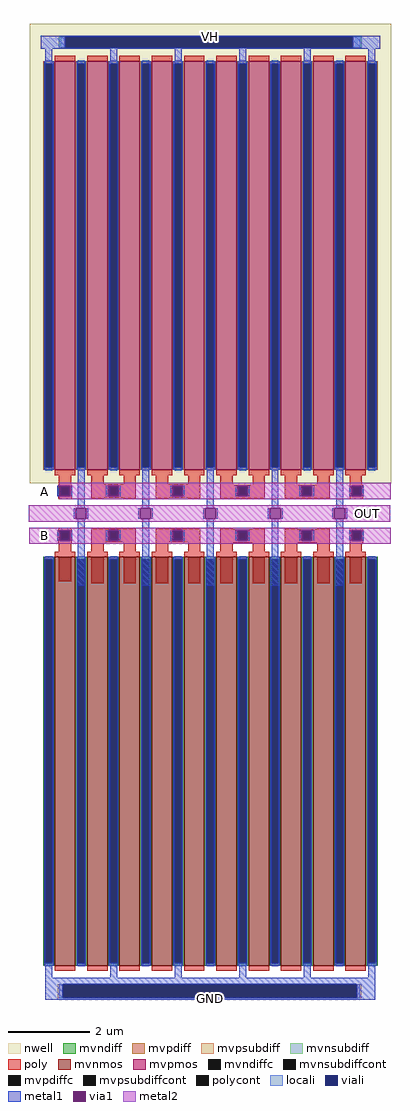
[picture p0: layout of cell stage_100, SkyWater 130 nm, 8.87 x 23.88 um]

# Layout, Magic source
magic
tech sky130A
magscale 1 2
<< nwell >>
rect -10 -6 1760 2244
<< mvpsubdiff >>
rect 128 -2526 152 -2458
rect 1590 -2526 1614 -2458
<< mvnsubdiff >>
rect 134 2126 164 2178
rect 1572 2126 1616 2178
<< mvpsubdiffcont >>
rect 152 -2526 1590 -2458
<< mvnsubdiffcont >>
rect 164 2126 1572 2178
<< poly >>
rect 134 -84 194 50
rect 292 -10 352 60
rect 450 -10 510 60
rect 292 -76 510 -10
rect 292 -78 352 -76
rect 450 -78 510 -76
rect 608 -10 668 60
rect 766 -10 826 60
rect 608 -76 826 -10
rect 608 -78 668 -76
rect 766 -78 826 -76
rect 924 -12 984 60
rect 1082 -12 1142 60
rect 924 -78 1142 -12
rect 1240 -12 1300 60
rect 1398 -12 1458 60
rect 1240 -78 1458 -12
rect 1556 -84 1616 60
rect 134 -486 194 -224
rect 292 -294 510 -228
rect 292 -496 352 -294
rect 450 -496 510 -294
rect 608 -294 826 -228
rect 608 -496 668 -294
rect 766 -496 826 -294
rect 924 -230 984 -228
rect 1082 -230 1142 -228
rect 924 -296 1142 -230
rect 924 -496 984 -296
rect 1082 -496 1142 -296
rect 1240 -230 1300 -228
rect 1398 -230 1458 -228
rect 1240 -296 1458 -230
rect 1240 -496 1300 -296
rect 1398 -496 1458 -296
rect 1556 -496 1616 -224
<< locali >>
rect 142 2126 164 2178
rect 1572 2126 1608 2178
rect 136 -2526 152 -2458
rect 1590 -2526 1606 -2458
<< viali >>
rect 164 2126 1572 2178
rect 152 -2524 1590 -2458
<< metal1 >>
rect 44 2178 1706 2184
rect 44 2126 164 2178
rect 1572 2126 1706 2178
rect 44 2120 1706 2126
rect 68 2048 102 2120
rect 384 2048 418 2120
rect 700 2048 734 2120
rect 1016 2048 1050 2120
rect 1332 2048 1366 2120
rect 1648 2048 1682 2120
rect 126 -70 136 -18
rect 188 -70 198 -18
rect 226 -128 260 72
rect 364 -70 374 -18
rect 426 -70 436 -18
rect 542 -128 576 72
rect 678 -70 688 -18
rect 740 -70 750 -18
rect 858 -128 892 72
rect 996 -70 1006 -18
rect 1058 -70 1068 -18
rect 1174 -128 1208 72
rect 1310 -70 1320 -18
rect 1372 -70 1382 -18
rect 1490 -128 1524 72
rect 1554 -70 1564 -18
rect 1616 -70 1626 -18
rect 206 -180 216 -128
rect 268 -180 278 -128
rect 522 -180 532 -128
rect 584 -180 594 -128
rect 840 -180 850 -128
rect 902 -180 912 -128
rect 1156 -180 1166 -128
rect 1218 -180 1228 -128
rect 1472 -180 1482 -128
rect 1534 -180 1544 -128
rect 126 -288 136 -236
rect 188 -288 198 -236
rect 226 -508 260 -180
rect 364 -288 374 -236
rect 426 -288 436 -236
rect 542 -508 576 -180
rect 678 -288 688 -236
rect 740 -288 750 -236
rect 858 -508 892 -180
rect 996 -288 1006 -236
rect 1058 -288 1068 -236
rect 1174 -508 1208 -180
rect 1310 -288 1320 -236
rect 1372 -288 1382 -236
rect 1490 -508 1524 -180
rect 1554 -288 1564 -236
rect 1616 -288 1626 -236
rect 68 -2426 102 -2352
rect 384 -2426 418 -2352
rect 700 -2426 734 -2352
rect 1016 -2426 1050 -2352
rect 1332 -2426 1366 -2352
rect 1648 -2426 1682 -2352
rect 68 -2458 1682 -2426
rect 68 -2524 152 -2458
rect 1590 -2524 1682 -2458
rect 68 -2532 1682 -2524
<< via1 >>
rect 136 -70 188 -18
rect 374 -70 426 -18
rect 688 -70 740 -18
rect 1006 -70 1058 -18
rect 1320 -70 1372 -18
rect 1564 -70 1616 -18
rect 216 -180 268 -128
rect 532 -180 584 -128
rect 850 -180 902 -128
rect 1166 -180 1218 -128
rect 1482 -180 1534 -128
rect 136 -288 188 -236
rect 374 -288 426 -236
rect 688 -288 740 -236
rect 1006 -288 1058 -236
rect 1320 -288 1372 -236
rect 1564 -288 1616 -236
<< metal2 >>
rect 136 -18 1758 -4
rect 188 -70 374 -18
rect 426 -70 688 -18
rect 740 -70 1006 -18
rect 1058 -70 1320 -18
rect 1372 -70 1564 -18
rect 1616 -70 1758 -18
rect 136 -84 1758 -70
rect -14 -128 1756 -114
rect -14 -180 216 -128
rect 268 -180 532 -128
rect 584 -180 850 -128
rect 902 -180 1166 -128
rect 1218 -180 1482 -128
rect 1534 -180 1756 -128
rect -14 -194 1756 -180
rect -12 -236 1758 -224
rect -12 -288 136 -236
rect 188 -288 374 -236
rect 426 -288 688 -236
rect 740 -288 1006 -236
rect 1058 -288 1320 -236
rect 1372 -288 1564 -236
rect 1616 -288 1758 -236
rect -12 -302 1758 -288
use cont_poly_min  cont_poly_min_0
transform 1 0 1591 0 1 -111
box -33 33 33 99
use cont_poly_min  cont_poly_min_1
transform 1 0 163 0 1 -111
box -33 33 33 99
use cont_poly_min  cont_poly_min_2
transform 1 0 401 0 1 -109
box -33 33 33 99
use cont_poly_min  cont_poly_min_3
transform 1 0 715 0 1 -109
box -33 33 33 99
use cont_poly_min  cont_poly_min_4
transform 1 0 1033 0 1 -111
box -33 33 33 99
use cont_poly_min  cont_poly_min_5
transform 1 0 1347 0 1 -111
box -33 33 33 99
use cont_poly_min  cont_poly_min_6
transform 1 0 163 0 1 -329
box -33 33 33 99
use cont_poly_min  cont_poly_min_7
transform 1 0 401 0 1 -327
box -33 33 33 99
use cont_poly_min  cont_poly_min_8
transform 1 0 715 0 1 -327
box -33 33 33 99
use cont_poly_min  cont_poly_min_9
transform 1 0 1033 0 1 -329
box -33 33 33 99
use cont_poly_min  cont_poly_min_10
transform 1 0 1347 0 1 -329
box -33 33 33 99
use cont_poly_min  cont_poly_min_11
transform 1 0 1591 0 1 -329
box -33 33 33 99
use sky130_fd_pr__nfet_g5v0d10v5_PVZBWB  sky130_fd_pr__nfet_g5v0d10v5_PVZBWB_0
transform 1 0 875 0 1 -1366
box -819 -1026 819 1026
use sky130_fd_pr__pfet_g5v0d10v5_VEZS85  sky130_fd_pr__pfet_g5v0d10v5_VEZS85_0
transform 1 0 875 0 1 1060
box -885 -1066 885 1066
<< labels >>
rlabel metal1 44 2178 1706 2184 1 VH
rlabel metal2 1534 -194 1756 -114 1 OUT
rlabel metal1 68 -2532 1682 -2526 1 GND
rlabel space -12 -84 136 -4 1 A
rlabel metal2 -12 -302 136 -224 1 B
<< end >>

# cell cont_poly_min: kit device sky130_fd_pr__nfet_01v8, w 0.420 l 0.150 m 1 nf 1 diffcov 100 polycov 100 guard 0 glc 0 grc 0 gtc 0 gbc 0 tbcov 100 rlcov 100 topc 1 botc 0 poverlap 0 doverlap 0 lmin 0.15 wmin 0.42 compatible {sky130_fd_pr__nfet_01v8 sky130_fd_pr__nfet_01v8_lvt sky130_fd_bs_flash__special_sonosfet_star sky130_fd_pr__nfet_g5v0d10v5 sky130_fd_pr__nfet_05v0_nvt sky130_fd_pr__nfet_03v3_nvt} full_metal 0 viasrc 100 viadrn 100 viagate 100 viagb 0 viagr 0 viagl 0 viagt 0

# cell sky130_fd_pr__nfet_g5v0d10v5_PVZBWB: kit device sky130_fd_pr__nfet_g5v0d10v5, w 10 l 0.50 m 1 nf 10 diffcov 100 polycov 100 guard 0 glc 0 grc 0 gtc 0 gbc 0 tbcov 100 rlcov 100 topc 0 botc 0 poverlap 0 doverlap 1 lmin 0.50 wmin 0.42 compatible {sky130_fd_pr__nfet_01v8 sky130_fd_pr__nfet_01v8_lvt sky130_fd_bs_flash__special_sonosfet_star sky130_fd_pr__nfet_g5v0d10v5 sky130_fd_pr__nfet_05v0_nvt sky130_fd_pr__nfet_03v3_nvt} full_metal 0 viasrc 100 viadrn 100 viagate 100 viagb 0 viagr 0 viagl 0 viagt 0

# cell sky130_fd_pr__pfet_g5v0d10v5_VEZS85: kit device sky130_fd_pr__pfet_g5v0d10v5, w 10 l 0.5 m 1 nf 10 diffcov 100 polycov 100 guard 0 glc 0 grc 0 gtc 0 gbc 0 tbcov 100 rlcov 100 topc 0 botc 0 poverlap 0 doverlap 1 lmin 0.50 wmin 0.42 compatible {sky130_fd_pr__pfet_01v8 sky130_fd_pr__pfet_01v8_lvt sky130_fd_pr__pfet_01v8_hvt sky130_fd_pr__pfet_g5v0d10v5} full_metal 0 viasrc 100 viadrn 100 viagate 100 viagb 0 viagr 0 viagl 0 viagt 0
